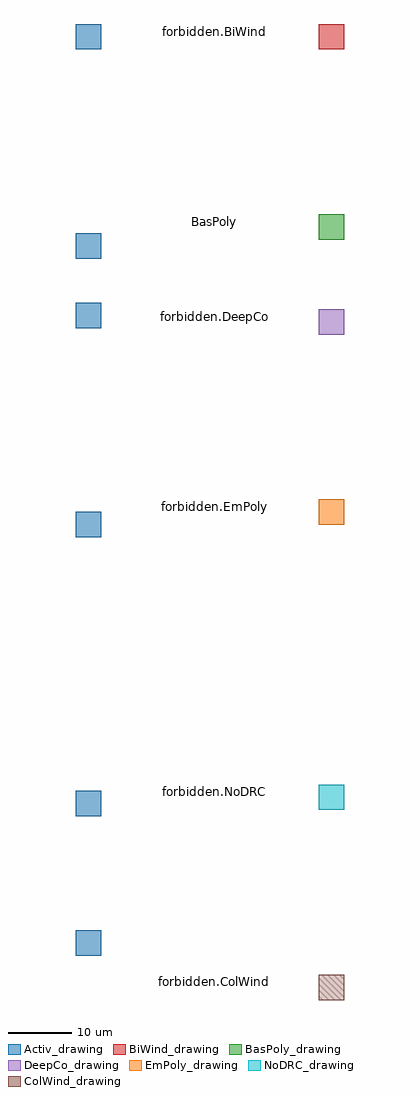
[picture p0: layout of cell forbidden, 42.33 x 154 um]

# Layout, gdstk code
import gdstk
lib = gdstk.Library(unit=1e-6, precision=1e-09)
def R(c, l, rs):  # rectangles x0, y0, x1, y1
    for r in rs: c.add(gdstk.rectangle(r[:2], r[2:], *l))
Activ_drawing = (1, 0)
BiWind_drawing = (3, 0)
BasPoly_drawing = (13, 0)
DeepCo_drawing = (35, 0)
EmPoly_drawing = (55, 0)
NoDRC_drawing = (62, 0)
ColWind_drawing = (139, 0)

forbidden = lib.new_cell('forbidden')
R(forbidden, Activ_drawing, [(-21.83,-153.09,-17.835,-149.08), (-21.83,-131.09,-17.835,-127.08), (-21.83,-87.09,-17.835,-83.08), (-21.83,-54.09,-17.835,-50.08), (-21.83,-43.09,-17.835,-39.08), (-21.83,-10.09,-17.835,-6.08)])
R(forbidden, BiWind_drawing, [(16.497,-10.085,20.497,-6.085)])
R(forbidden, BasPoly_drawing, [(16.497,-40.085,20.497,-36.085)])
R(forbidden, DeepCo_drawing, [(16.497,-55.085,20.497,-51.085)])
R(forbidden, EmPoly_drawing, [(16.497,-85.085,20.497,-81.085)])
R(forbidden, NoDRC_drawing, [(16.497,-130.085,20.497,-126.085)])
R(forbidden, ColWind_drawing, [(16.497,-160.085,20.497,-156.085)])
forbidden.add(gdstk.Label('PASS', (-12,5), layer=63, texttype=0))
forbidden.add(gdstk.Label('FAIL', (12,5), layer=63, texttype=0))
forbidden.add(gdstk.Label('forbidden.ColWind', (0,-157.23), layer=63, texttype=0))
forbidden.add(gdstk.Label('forbidden.NoDRC', (0,-127.23), layer=63, texttype=0))
forbidden.add(gdstk.Label('forbidden.EmPoly', (0,-82.23), layer=63, texttype=0))
forbidden.add(gdstk.Label('forbidden.DeepCo', (0,-52.23), layer=63, texttype=0))
forbidden.add(gdstk.Label('BasPoly', (0,-37.23), layer=63, texttype=0))
forbidden.add(gdstk.Label('forbidden.BiWind', (0,-7.23), layer=63, texttype=0))
forbidden.add(gdstk.Label('3.2 Forbidden Layers', (0,21), layer=63, texttype=0))

lib.write_gds('forbidden.gds')
